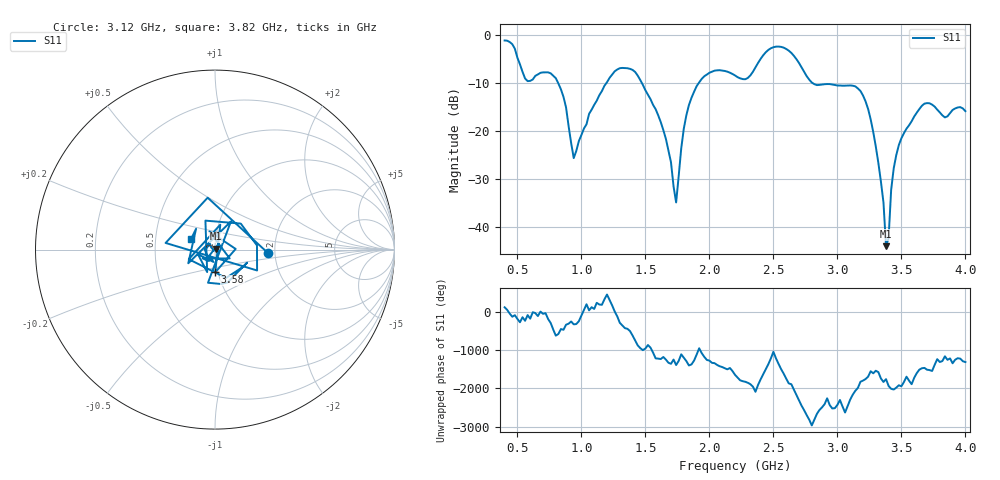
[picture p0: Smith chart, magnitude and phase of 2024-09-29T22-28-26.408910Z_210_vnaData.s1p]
!Created with skrf (http://scikit-rf.org).
# Hz S RI R 50.0
!freq ReS11 ImS11
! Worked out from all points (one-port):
!   181 points, 400 MHz to 4 GHz, reference 50 ohm
!   lowest |S11| = -43.9 dB at 3.38 GHz (marker M1), VSWR 1.01, Z = 50.5 + j0.437 ohm
!   |S11| at or under -10 dB: 818.4 MHz to 1.195 GHz (376.8 MHz wide, 37.4 % of centre); 1.473 GHz to 1.917 GHz (444.2 MHz wide, 26.2 % of centre); 2.806 GHz to end of sweep
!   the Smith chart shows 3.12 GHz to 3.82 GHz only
!   S11 on the Smith chart (normalised r, x): 3.12 GHz: 1.84, -0.08; 3.58 GHz: 0.97, -0.25; 3.82 GHz: 0.76, +0.09
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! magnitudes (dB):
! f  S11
! 400 MHz  -1.2
! 580 MHz  -9.6
! 760 MHz  -8.0
! 860 MHz  -12.9
! 940 MHz  -25.6
! 1.3 GHz  -6.9
! 1.58 GHz  -15.4
! 1.68 GHz  -24.0
! 1.74 GHz  -34.8
! 1.76 GHz  -29.3
! 1.82 GHz  -16.7
! 1.9 GHz  -10.7
! 2.2 GHz  -8.4
! 2.5 GHz  -2.6
! 2.66 GHz  -4.3
! 2.82 GHz  -10.2
! 3.1 GHz  -10.5
! 3.12 GHz  -10.6
! 3.26 GHz  -17.5
! 3.36 GHz  -34.8
! 3.38 GHz  -43.9
! 3.4 GHz  -42.2
! 3.44 GHz  -27.7
! 3.56 GHz  -18.8
! 3.58 GHz  -17.9
! 3.7 GHz  -14.2
! 3.82 GHz  -16.7
! 4 GHz  -15.8
